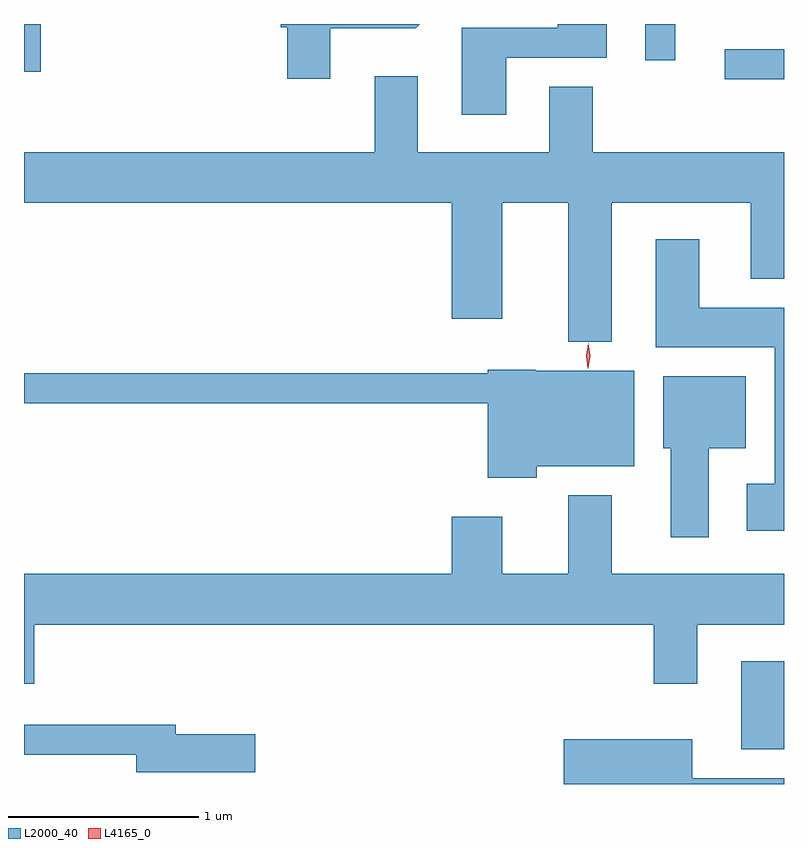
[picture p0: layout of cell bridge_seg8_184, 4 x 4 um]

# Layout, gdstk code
import gdstk
lib = gdstk.Library(unit=1e-6, precision=1e-09)
def R(c, l, rs):  # rectangles x0, y0, x1, y1
    for r in rs: c.add(gdstk.rectangle(r[:2], r[2:], *l))
def P(c, l, *ps):  # polygons
    for p in ps: c.add(gdstk.Polygon(p, *l))
L2000_40 = (2000, 40)
L4165_0 = (4165, 0)

bridge_seg8_184 = lib.new_cell('bridge_seg8_184')
R(bridge_seg8_184, L2000_40, [(1135.681,1929.001,1135.906,1929.464), (1135.593,1932.526,1135.906,1932.684), (1131.906,1932.566,1131.994,1932.818), (1135.176,1932.628,1135.334,1932.818)])
P(bridge_seg8_184, L2000_40, [(1133.519,1932.796),(1133.967,1932.796),(1133.989,1932.818),(1133.256,1932.818),(1133.256,1932.801),(1133.291,1932.801),(1133.291,1932.531),(1133.519,1932.531)],
  [(1134.444,1932.641),(1134.974,1932.641),(1134.974,1932.818),(1134.716,1932.818),(1134.716,1932.799),(1134.211,1932.799),(1134.211,1932.341),(1134.444,1932.341)],
  [(1134.999,1931.876),(1135.731,1931.876),(1135.731,1931.476),(1135.906,1931.476),(1135.906,1932.144),(1134.899,1932.144),(1134.899,1932.489),(1134.671,1932.489),(1134.671,1932.144),(1133.979,1932.144),(1133.979,1932.544),(1133.751,1932.544),(1133.751,1932.144),(1131.906,1932.144),(1131.906,1931.876),(1134.156,1931.876),(1134.156,1931.266),(1134.424,1931.266),(1134.424,1931.876),(1134.771,1931.876),(1134.771,1931.146),(1134.999,1931.146)],
  [(1135.906,1931.324),(1135.459,1931.324),(1135.459,1931.684),(1135.231,1931.684),(1135.231,1931.116),(1135.856,1931.116),(1135.856,1930.399),(1135.711,1930.399),(1135.711,1930.151),(1135.906,1930.151)],
  [(1134.604,1930.491),(1135.119,1930.491),(1135.119,1930.994),(1134.6,1930.994),(1134.6,1930.999),(1134.346,1930.999),(1134.346,1930.979),(1131.906,1930.979),(1131.906,1930.821),(1134.346,1930.821),(1134.346,1930.431),(1134.604,1930.431)],
  [(1135.509,1930.586),(1135.704,1930.586),(1135.704,1930.964),(1135.271,1930.964),(1135.271,1930.586),(1135.311,1930.586),(1135.311,1930.116),(1135.509,1930.116)],
  [(1131.959,1929.656),(1135.221,1929.656),(1135.221,1929.346),(1135.449,1929.346),(1135.449,1929.656),(1135.906,1929.656),(1135.906,1929.924),(1134.999,1929.924),(1134.999,1930.339),(1134.771,1930.339),(1134.771,1929.924),(1134.424,1929.924),(1134.424,1930.224),(1134.156,1930.224),(1134.156,1929.924),(1131.906,1929.924),(1131.906,1929.346),(1131.959,1929.346)],
  [(1133.124,1929.079),(1132.704,1929.079),(1132.704,1929.129),(1131.906,1929.129),(1131.906,1928.971),(1132.496,1928.971),(1132.496,1928.881),(1133.124,1928.881)],
  [(1135.906,1928.849),(1135.424,1928.849),(1135.424,1929.054),(1134.746,1929.054),(1134.746,1928.818),(1135.906,1928.818)])
P(bridge_seg8_184, L4165_0, [(1134.874,1931.006),(1134.874,1931.006),(1134.865,1931.073),(1134.876,1931.139),(1134.876,1931.139),(1134.876,1931.139),(1134.885,1931.072),(1134.875,1931.006)])

lib.write_gds('bridge_seg8_184.gds')
